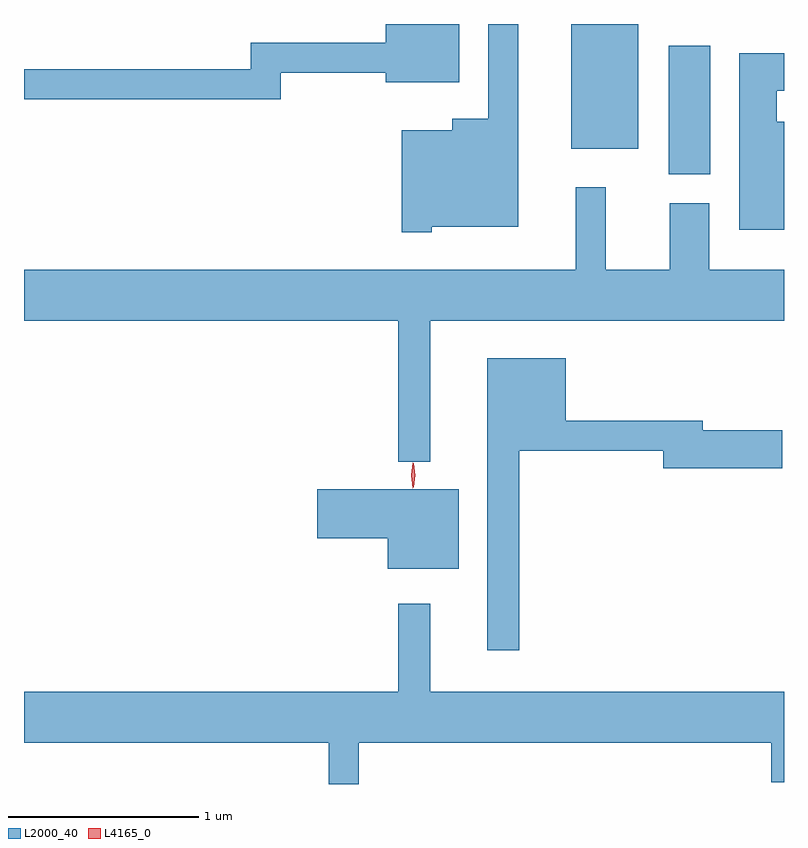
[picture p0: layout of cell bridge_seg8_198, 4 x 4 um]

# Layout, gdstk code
import gdstk
lib = gdstk.Library(unit=1e-6, precision=1e-09)
def R(c, l, rs):  # rectangles x0, y0, x1, y1
    for r in rs: c.add(gdstk.rectangle(r[:2], r[2:], *l))
def P(c, l, *ps):  # polygons
    for p in ps: c.add(gdstk.Polygon(p, *l))
L2000_40 = (2000, 40)
L4165_0 = (4165, 0)

bridge_seg8_198 = lib.new_cell('bridge_seg8_198')
R(bridge_seg8_198, L2000_40, [(1164.716,1906.006,1164.934,1906.684), (1164.201,1906.141,1164.554,1906.798)])
P(bridge_seg8_198, L2000_40, [(1163.469,1905.731),(1163.924,1905.731),(1163.924,1906.798),(1163.766,1906.798),(1163.766,1906.299),(1163.576,1906.299),(1163.576,1906.239),(1163.311,1906.239),(1163.311,1905.701),(1163.469,1905.701)],
  [(1162.674,1906.541),(1163.226,1906.541),(1163.226,1906.491),(1163.614,1906.491),(1163.614,1906.798),(1163.226,1906.798),(1163.226,1906.699),(1162.516,1906.699),(1162.516,1906.559),(1161.322,1906.559),(1161.322,1906.401),(1162.674,1906.401)],
  [(1165.322,1906.284),(1165.284,1906.284),(1165.284,1906.446),(1165.322,1906.446),(1165.322,1906.644),(1165.086,1906.644),(1165.086,1905.716),(1165.322,1905.716)],
  [(1163.459,1905.236),(1165.322,1905.236),(1165.322,1905.504),(1164.929,1905.504),(1164.929,1905.854),(1164.721,1905.854),(1164.721,1905.504),(1164.384,1905.504),(1164.384,1905.938),(1164.226,1905.938),(1164.226,1905.504),(1161.322,1905.504),(1161.322,1905.236),(1163.291,1905.236),(1163.291,1904.493),(1163.459,1904.493)],
  [(1163.929,1904.551),(1164.686,1904.551),(1164.686,1904.461),(1165.314,1904.461),(1165.314,1904.659),(1164.894,1904.659),(1164.894,1904.709),(1164.174,1904.709),(1164.174,1905.039),(1163.761,1905.039),(1163.761,1903.503),(1163.929,1903.503)],
  [(1163.609,1904.349),(1162.866,1904.349),(1162.866,1904.091),(1163.236,1904.091),(1163.236,1903.931),(1163.609,1903.931)],
  [(1163.084,1903.016),(1165.256,1903.016),(1165.256,1902.806),(1165.322,1902.806),(1165.322,1903.284),(1163.459,1903.284),(1163.459,1903.748),(1163.291,1903.748),(1163.291,1903.284),(1161.322,1903.284),(1161.322,1903.016),(1162.926,1903.016),(1162.926,1902.798),(1163.084,1902.798)])
P(bridge_seg8_198, L4165_0, [(1163.371,1904.36),(1163.362,1904.424),(1163.371,1904.486),(1163.372,1904.487),(1163.372,1904.486),(1163.382,1904.424),(1163.372,1904.36),(1163.372,1904.36)],
  [(1163.368,1904.354),(1163.359,1904.422),(1163.368,1904.49),(1163.369,1904.49),(1163.369,1904.49),(1163.379,1904.422),(1163.369,1904.354),(1163.369,1904.354)])

lib.write_gds('bridge_seg8_198.gds')
